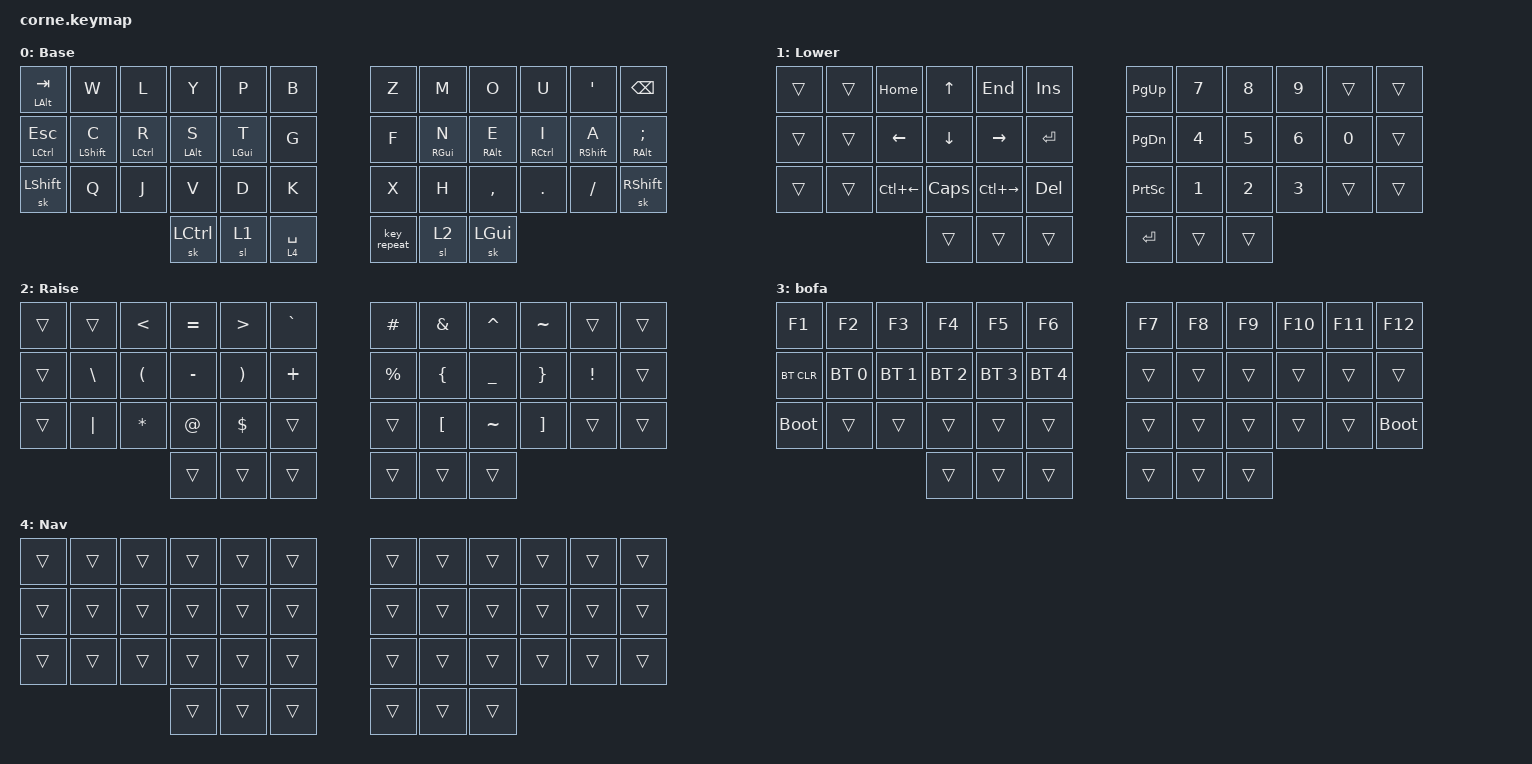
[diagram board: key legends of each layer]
/*
 * Copyright (c) 2020 The ZMK Contributors
 *
 * SPDX-License-Identifier: MIT
 */

#include <behaviors.dtsi>
#include <dt-bindings/zmk/bt.h>
#include <dt-bindings/zmk/keys.h>

&sk { /delete-property/ ignore-modifiers; };

/ {
    combos {
        compatible = "zmk,combos";

        caps_word {
            bindings = <&caps_word>;
            key-positions = <17 18>;
        };

        delete {
            bindings = <&kp DELETE>;
            key-positions = <32 33>;
        };

        L_PAR {
            bindings = <&kp LEFT_PARENTHESIS>;
            key-positions = <16 17>;
        };

        R_PAR {
            bindings = <&kp RIGHT_PARENTHESIS>;
            key-positions = <19 18>;
        };

        L_BRACE {
            bindings = <&kp LEFT_BRACE>;
            key-positions = <4 5>;
        };

        R_BRACE {
            bindings = <&kp RIGHT_BRACE>;
            key-positions = <7 6>;
        };

        L_BRACK {
            bindings = <&kp LEFT_BRACKET>;
            key-positions = <28 29>;
        };

        R_BRACK {
            bindings = <&kp RIGHT_BRACKET>;
            key-positions = <31 30>;
        };

        equals {
            bindings = <&kp EQUAL>;
            key-positions = <31 34>;
        };

        plus {
            bindings = <&kp PLUS>;
            key-positions = <31 33>;
        };

        minus {
            bindings = <&kp MINUS>;
            key-positions = <31 32>;
        };

        asterisk {
            bindings = <&kp ASTERISK>;
            key-positions = <27 28>;
        };
    };

    behaviors {
        hml: homerow_mods_left {
            compatible = "zmk,behavior-hold-tap";
            label = "HOMEROW_MODS_LEFT_HAND";
            bindings = <&kp>, <&kp>;

            #binding-cells = <2>;
            tapping-term-ms = <280>;
            hold-trigger-key-positions = <39 6 7 8 9 10 11 18 19 20 21 22 23 30 31 32 33 34 35 40 41>;
            require-prior-idle-ms = <125>;
            quick-tap-ms = <175>;
            flavor = "tap-preferred";
            hold-trigger-on-release;
        };

        hmr: homerow_mods_right {
            compatible = "zmk,behavior-hold-tap";
            label = "HOMEROW_MODSS_RIGHT_HAND";
            bindings = <&kp>, <&kp>;

            #binding-cells = <2>;
            tapping-term-ms = <280>;
            hold-trigger-key-positions = <0 1 2 3 4 5 12 13 14 15 16 17 24 25 26 27 28 29 36 37 38>;
            quick-tap-ms = <175>;
            require-prior-idle-ms = <125>;
            flavor = "tap-preferred";
            hold-trigger-on-release;
        };
    };

    keymap {
        compatible = "zmk,keymap";

        default_layer {
            // -----------------------------------------------------------------------------------------
            // |  TAB |  Q  |  W  |  E  |  R  |  T  |   |  Y  |  U   |  I  |  O  |  P  | BKSP |
            // | CTRL |  A  |  S  |  D  |  F  |  G  |   |  H  |  J   |  K  |  L  |  ;  |  '   |
            // | SHFT |  Z  |  X  |  C  |  V  |  B  |   |  N  |  M   |  ,  |  .  |  /  | ESC  |
            //                    | GUI | LWR | SPC |   | ENT | RSE  | ALT |

            display-name = "Base";
            bindings = <
&mt LEFT_ALT TAB  &kp W         &kp L         &kp Y             &kp P            &kp B          &kp Z        &kp M             &kp O             &kp U         &kp SQT             &kp BSPC
&mt LCTRL ESCAPE  &hml LSHFT C  &hml LCTRL R  &hml LEFT_ALT S   &hml LEFT_GUI T  &kp G          &kp F        &hmr RIGHT_GUI N  &hmr RIGHT_ALT E  &hmr RCTRL I  &hmr RIGHT_SHIFT A  &mt RIGHT_ALT SEMICOLON
&sk LSHFT         &kp Q         &kp J         &kp V             &kp D            &kp K          &kp X        &kp H             &kp COMMA         &kp DOT       &kp FSLH            &sk RIGHT_SHIFT
                                              &sk LEFT_CONTROL  &sl 1            &lt 4 SPACE    &key_repeat  &sl 2             &sk LEFT_GUI
            >;
        };

        num {
            // -----------------------------------------------------------------------------------------
            // |  TAB |  1  |  2  |  3  |  4  |  5  |   |  6  |  7  |  8  |  9  |  0  | BKSP |
            // | BTCLR| BT1 | BT2 | BT3 | BT4 | BT5 |   | LFT | DWN |  UP | RGT |     |      |
            // | SHFT |     |     |     |     |     |   |     |     |     |     |     |      |
            //                    | GUI |     | SPC |   | ENT |     | ALT |

            display-name = "Lower";
            bindings = <
&trans  &trans  &kp HOME        &kp UP_ARROW    &kp END        &kp INS       &kp PG_UP        &kp N7        &kp N8        &kp N9        &trans  &trans
&trans  &trans  &kp LEFT_ARROW  &kp DOWN_ARROW  &kp RIGHT      &kp ENTER     &kp PG_DN        &kp NUMBER_4  &kp N5        &kp NUMBER_6  &kp N0  &trans
&trans  &trans  &kp LC(LEFT)    &kp CAPSLOCK    &kp LC(RIGHT)  &kp DELETE    &kp PRINTSCREEN  &kp NUMBER_1  &kp NUMBER_2  &kp NUMBER_3  &trans  &trans
                                &trans          &trans         &trans        &kp RET          &trans        &trans
            >;
        };

        sym {
            // -----------------------------------------------------------------------------------------
            // |  TAB |  !  |  @  |  #  |  $  |  %  |   |  ^  |  &  |  *  |  (  |  )  | BKSP |
            // | CTRL |     |     |     |     |     |   |  -  |  =  |  [  |  ]  |  \  |  `   |
            // | SHFT |     |     |     |     |     |   |  _  |  +  |  {  |  }  | "|" |  ~   |
            //                    | GUI |     | SPC |   | ENT |     | ALT |

            display-name = "Raise";
            bindings = <
&trans  &trans         &kp LT                &kp EQUAL  &kp GT                 &kp GRAVE    &kp HASH     &kp AMPS          &kp CARET  &kp TILDE          &trans    &trans
&trans  &kp BACKSLASH  &kp LEFT_PARENTHESIS  &kp MINUS  &kp RIGHT_PARENTHESIS  &kp PLUS     &kp PERCENT  &kp LEFT_BRACE    &kp UNDER  &kp RIGHT_BRACE    &kp EXCL  &trans
&trans  &kp PIPE       &kp STAR              &kp AT     &kp DOLLAR             &trans       &trans       &kp LEFT_BRACKET  &kp TILDE  &kp RIGHT_BRACKET  &trans    &trans
                                             &trans     &trans                 &trans       &trans       &trans            &trans
            >;
        };

        bofa {
            bindings = <
&kp F1       &kp F2        &kp F3        &kp F4        &kp F5        &kp F6          &kp F7  &kp F8  &kp F9  &kp F10  &kp F11  &kp F12
&bt BT_CLR   &bt BT_SEL 0  &bt BT_SEL 1  &bt BT_SEL 2  &bt BT_SEL 3  &bt BT_SEL 4    &trans  &trans  &trans  &trans   &trans   &trans
&bootloader  &trans        &trans        &trans        &trans        &trans          &trans  &trans  &trans  &trans   &trans   &bootloader
                                         &trans        &trans        &trans          &trans  &trans  &trans
            >;

            label = "bofa";
        };

        Nav {
            bindings = <
&trans  &trans  &trans  &trans  &trans  &trans    &trans  &trans  &trans  &trans  &trans  &trans
&trans  &trans  &trans  &trans  &trans  &trans    &trans  &trans  &trans  &trans  &trans  &trans
&trans  &trans  &trans  &trans  &trans  &trans    &trans  &trans  &trans  &trans  &trans  &trans
                        &trans  &trans  &trans    &trans  &trans  &trans
            >;
        };
    };

    conditional_layers {
        compatible = "zmk,conditional-layers";

        bofa {
            if-layers = <2 1>;
            then-layer = <3>;
        };
    };
};
